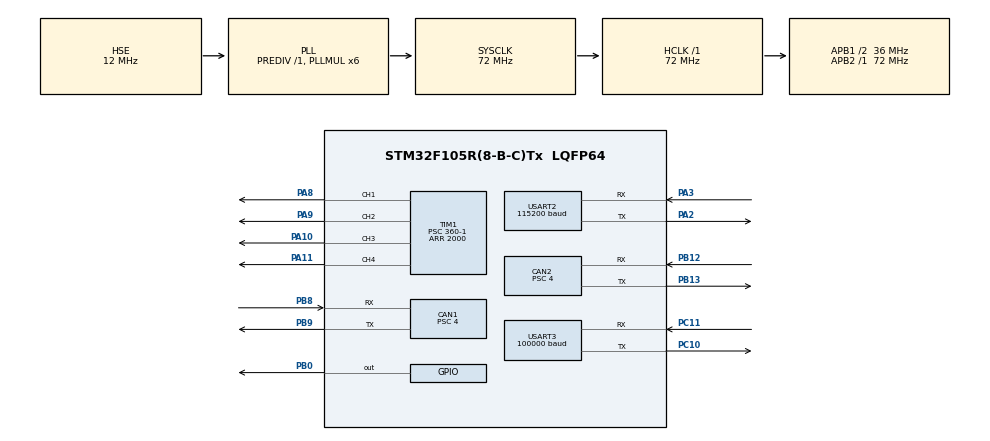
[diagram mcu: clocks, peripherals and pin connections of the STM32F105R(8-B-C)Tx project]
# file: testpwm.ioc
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CAN1.ABOM=ENABLE
CAN1.BS1=CAN_BS1_3TQ
CAN1.BS2=CAN_BS2_5TQ
CAN1.CalculateBaudRate=1000000
CAN1.CalculateTimeBit=999.99
CAN1.CalculateTimeQuantum=111.11111111111111
CAN1.Mode=CAN_MODE_NORMAL
CAN1.Prescaler=4
CAN2.ABOM=ENABLE
CAN2.BS1=CAN_BS1_3TQ
CAN2.BS2=CAN_BS2_5TQ
CAN2.CalculateBaudRate=1000000
CAN2.CalculateTimeBit=999.99
CAN2.CalculateTimeQuantum=111.11111111111111
CAN2.Prescaler=4
Dma.Request0=USART3_RX
Dma.USART3_RX.0.Direction=DMA_PERIPH_TO_MEMORY
Dma.USART3_RX.0.Instance=DMA1_Channel3
Dma.USART3_RX.0.MemDataAlignment=DMA_MDATAALIGN_BYTE
Dma.USART3_RX.0.MemInc=DMA_MINC_ENABLE
Dma.USART3_RX.0.Mode=DMA_CIRCULAR
Dma.USART3_RX.0.PeriphDataAlignment=DMA_PDATAALIGN_BYTE
Dma.USART3_RX.0.PeriphInc=DMA_PINC_DISABLE
Dma.USART3_RX.0.Priority=DMA_PRIORITY_VERY_HIGH
Mcu.Family=STM32F1
Mcu.Name=STM32F105R(8-B-C)Tx
Mcu.Package=LQFP64
NVIC.CAN1_RX0_IRQn=true\:0\:0\:false\:false\:true\:true\:true
NVIC.CAN1_TX_IRQn=true\:0\:0\:false\:false\:true\:true\:true
NVIC.CAN2_RX0_IRQn=true\:0\:0\:false\:false\:true\:true\:true
NVIC.CAN2_TX_IRQn=true\:0\:0\:false\:false\:true\:true\:true
NVIC.DMA1_Channel3_IRQn=true\:0\:0\:false\:false\:true\:false\:true
NVIC.PriorityGroup=NVIC_PRIORITYGROUP_4
PA10.Signal=S_TIM1_CH3
PA11.Signal=S_TIM1_CH4
PA13.Mode=Serial_Wire
PA13.Signal=SYS_JTMS-SWDIO
PA14.Mode=Serial_Wire
PA14.Signal=SYS_JTCK-SWCLK
PA2.Mode=Asynchronous
PA2.Signal=USART2_TX
PA3.Mode=Asynchronous
PA3.Signal=USART2_RX
PA8.Signal=S_TIM1_CH1
PA9.Signal=S_TIM1_CH2
PB0.PinState=GPIO_PIN_RESET
PB0.Signal=GPIO_Output
PB12.Mode=CAN_Activate
PB12.Signal=CAN2_RX
PB13.Mode=CAN_Activate
PB13.Signal=CAN2_TX
PB8.GPIO_Mode=GPIO_MODE_INPUT
PB8.GPIO_PuPd=GPIO_NOPULL
PB8.Mode=CAN_Activate
PB8.Signal=CAN1_RX
PB9.Mode=CAN_Activate
PB9.Signal=CAN1_TX
PC10.Mode=Asynchronous
PC10.Signal=USART3_TX
PC11.Mode=Asynchronous
PC11.Signal=USART3_RX
PD0-OSC_IN.Mode=HSE-External-Oscillator
PD0-OSC_IN.Signal=RCC_OSC_IN
PD1-OSC_OUT.Mode=HSE-External-Oscillator
PD1-OSC_OUT.Signal=RCC_OSC_OUT
ProjectManager.HeapSize=0x200
ProjectManager.StackSize=0x400
ProjectManager.TargetToolchain=MDK-ARM V5
RCC.AHBFreq_Value=72000000
RCC.APB1CLKDivider=RCC_HCLK_DIV2
RCC.APB1Freq_Value=36000000
RCC.APB1TimFreq_Value=72000000
RCC.APB2Freq_Value=72000000
RCC.APB2TimFreq_Value=72000000
RCC.HCLKFreq_Value=72000000
RCC.HSE_VALUE=12000000
RCC.PLLMUL=RCC_PLL_MUL6
RCC.PLLSourceVirtual=RCC_PLLSOURCE_HSE
RCC.SYSCLKFreq_VALUE=72000000
RCC.SYSCLKSource=RCC_SYSCLKSOURCE_PLLCLK
RCC.USBFreq_Value=48000000
SH.S_TIM1_CH1.0=TIM1_CH1,PWM Generation1 CH1
SH.S_TIM1_CH2.0=TIM1_CH2,PWM Generation2 CH2
SH.S_TIM1_CH3.0=TIM1_CH3,PWM Generation3 CH3
SH.S_TIM1_CH4.0=TIM1_CH4,PWM Generation4 CH4
TIM1.AutoReloadPreload=TIM_AUTORELOAD_PRELOAD_ENABLE
TIM1.Channel-PWM\ Generation1\ CH1=TIM_CHANNEL_1
TIM1.Channel-PWM\ Generation2\ CH2=TIM_CHANNEL_2
TIM1.Channel-PWM\ Generation3\ CH3=TIM_CHANNEL_3
TIM1.Channel-PWM\ Generation4\ CH4=TIM_CHANNEL_4
TIM1.OCPolarity_1=TIM_OCPOLARITY_HIGH
TIM1.Period=2000
TIM1.Prescaler=360-1
TIM1.Pulse-PWM\ Generation1\ CH1=200
USART2.BaudRate=115200
USART2.Parity=PARITY_NONE
USART2.VirtualMode=VM_ASYNC
USART3.BaudRate=100000
USART3.Parity=PARITY_EVEN
USART3.VirtualMode=VM_ASYNC
board=custom

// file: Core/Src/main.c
/* USER CODE BEGIN Header */
/**
  ******************************************************************************
  * @file           : main.c
  * @brief          : Main program body
  ******************************************************************************
  * @attention
  *
  * <h2><center>&copy; Copyright (c) 2021 STMicroelectronics.
  * All rights reserved.</center></h2>
  *
  * This software component is licensed by ST under BSD 3-Clause license,
  * the "License"; You may not use this file except in compliance with the
  * License. You may obtain a copy of the License at:
  *                        opensource.org/licenses/BSD-3-Clause
  *
  ******************************************************************************
  */
/* USER CODE END Header */
#include "main.h"
#include "can.h"
#include "dma.h"
#include "tim.h"
#include "usart.h"
#include "gpio.h"

/* USER CODE BEGIN Includes */
#include "string.h"
#include <stdio.h>
#include <math.h>
#include <stdlib.h>

/* USER CODE END Includes */

/* USER CODE BEGIN PV */

uint16_t motor1_pulse=0;
uint16_t motor2_pulse=0;
uint16_t motor3_pulse=0;
uint16_t motor4_pulse=0;

uint16_t rx_count=0;
uint8_t dbus_rx_buffer[18]={0}; // receiver data buffer
RC_Ctl_t RC_CtrlData; // dbus channel typeder
int16_t sp1 = 10000;

uint8_t rxbuf[8]={0,0,0,0,0,0,0,0}; //can_rx
CAN_RxHeaderTypeDef RxHeader;
uint32_t MailBox;//tx mail box
uint8_t tx_data[8]; // can tx data

static volatile uint32_t  can_status;

static volatile int32_t cnt =0;

/* USER CODE END PV */

void SystemClock_Config(void);
/* USER CODE BEGIN PFP */
void hal_can_recv_filter(CAN_HandleTypeDef hcan);
void set_motor_voltage(int16_t v1, int16_t v2, int16_t v3, int16_t v4);
//extern void CAN2_Filter_Init(void);// CAN FILTER INIT
//void CAN1_Filter_Init(void);

/* USER CODE END PFP */

int main(void)
{

  /* MCU Configuration--------------------------------------------------------*/

  /* Reset of all peripherals, Initializes the Flash interface and the Systick. */
  HAL_Init();

  /* Configure the system clock */
  SystemClock_Config();

  /* Initialize all configured peripherals */
  MX_GPIO_Init();
  MX_TIM1_Init();
  MX_USART2_UART_Init();
  MX_DMA_Init();
  MX_USART3_UART_Init();
  MX_CAN1_Init();
  MX_CAN2_Init();
  /* USER CODE BEGIN 2 */

	/* Start the CAN peripheral */
	hal_can_recv_filter(hcan1);
	if (HAL_CAN_Start(&hcan1) != HAL_OK)
	{

	  /* Start Error */
	  Error_Handler();
	}

	/* Activate CAN RX notification */
	if (HAL_CAN_ActivateNotification(&hcan1, CAN_IT_RX_FIFO0_MSG_PENDING) != HAL_OK)
	{
	  /* Notification Error */
	  Error_Handler();
	}
  HAL_TIM_PWM_Start(&htim1, TIM_CHANNEL_1);
  HAL_TIM_PWM_Start(&htim1, TIM_CHANNEL_2);
  HAL_TIM_PWM_Start(&htim1, TIM_CHANNEL_3);
  HAL_TIM_PWM_Start(&htim1, TIM_CHANNEL_4);
  __HAL_TIM_SET_COMPARE(&htim1, TIM_CHANNEL_1, motor1_pulse);
	__HAL_TIM_SET_COMPARE(&htim1, TIM_CHANNEL_2, motor1_pulse);
	__HAL_TIM_SET_COMPARE(&htim1, TIM_CHANNEL_3, motor1_pulse);
	__HAL_TIM_SET_COMPARE(&htim1, TIM_CHANNEL_4, motor1_pulse);
  HAL_UART_Receive_DMA(&huart3, dbus_rx_buffer, 18);

  //CAN2_Filter_Init();// CAN FILTER INIT

  /* USER CODE END 2 */

  /* Infinite loop */
  while (1)
  {

    /* USER CODE BEGIN 3 */
		set_motor_voltage(30000, 0, 0, 0);
//		tx_data[0] = 0x01;
//    tx_data[1] = 0x02;
//		if (HAL_CAN_AddTxMessage(&hcan1, &TxHeader, tx_data, &txmailbox) != HAL_OK)
//        {
//          /* Transmission request Error */
//					can_status = HAL_CAN_GetError(&hcan1);
//          Error_Handler();
//        }
		switch (RC_CtrlData.rc.s2)
			{
				case 1:
				{
					if(RC_CtrlData.rc.ch0 > 1024 && abs(RC_CtrlData.rc.ch1 - 1024) < 20 ){
						motor4_pulse += (RC_CtrlData.rc.ch0-1024)*0.66;

					}
					else if (RC_CtrlData.rc.ch0 < 1024 && abs(RC_CtrlData.rc.ch1 - 1024) < 20){
						motor4_pulse -= (1024-RC_CtrlData.rc.ch0)*0.66 ;
					}
					if(RC_CtrlData.rc.ch1 > 1024 && abs(RC_CtrlData.rc.ch0 - 1024) < 20 ){
						motor3_pulse += (RC_CtrlData.rc.ch1-1024)*0.66;
					}
					else if (RC_CtrlData.rc.ch1 < 1024 && abs(RC_CtrlData.rc.ch0 - 1024) < 20){
						motor3_pulse -= (1024-RC_CtrlData.rc.ch1)*0.88 ;
					}
					break;
				}
				case 3:
				{
					if(RC_CtrlData.rc.ch0 > 1024 && abs(RC_CtrlData.rc.ch1 - 1024) < 20 ){
						motor2_pulse += (RC_CtrlData.rc.ch0-1024)*0.005;
					}
					else if (RC_CtrlData.rc.ch0 < 1024 && abs(RC_CtrlData.rc.ch1 - 1024) < 20){
						motor2_pulse -= (1024-RC_CtrlData.rc.ch0)*0.005 ;
					}
					if(RC_CtrlData.rc.ch1 > 1024 && abs(RC_CtrlData.rc.ch0 - 1024) < 20 ){
						motor1_pulse += (RC_CtrlData.rc.ch1-1024)*0.66;
					}
					else if (RC_CtrlData.rc.ch1 < 1024 && abs(RC_CtrlData.rc.ch0 - 1024) < 20){
						motor1_pulse -= (1024-RC_CtrlData.rc.ch1)*0.66 ;
					}
					break;
				}
				default:
					break;

			}

		if(motor4_pulse >= 250){
			motor4_pulse = 250;
		}
		if(motor4_pulse <= 50){
			motor4_pulse = 50;
		}
		if(motor3_pulse >= 250){
			motor3_pulse = 250;
		}
		if(motor3_pulse <= 50){
			motor3_pulse = 50;
		}
		if(motor2_pulse >= 250){
			motor2_pulse = 250;
		}
		if(motor2_pulse <= 150){
			motor2_pulse = 150;
		}
		if(motor1_pulse >= 250){
			motor1_pulse = 250;
		}
		if(motor1_pulse <= 50){
			motor1_pulse = 50;
		}

	   __HAL_TIM_SET_COMPARE(&htim1, TIM_CHANNEL_1, motor1_pulse);
	   __HAL_TIM_SET_COMPARE(&htim1, TIM_CHANNEL_2, motor2_pulse);
	   __HAL_TIM_SET_COMPARE(&htim1, TIM_CHANNEL_3, motor3_pulse);
	   __HAL_TIM_SET_COMPARE(&htim1, TIM_CHANNEL_4, motor4_pulse);
		cnt += 1;
		HAL_Delay(1000);

	}
  /* USER CODE END 3 */
}

void SystemClock_Config(void)
{
  RCC_OscInitTypeDef RCC_OscInitStruct = {0};
  RCC_ClkInitTypeDef RCC_ClkInitStruct = {0};

  /** Initializes the RCC Oscillators according to the specified parameters
  * in the RCC_OscInitTypeDef structure.
  */
  RCC_OscInitStruct.OscillatorType = RCC_OSCILLATORTYPE_HSE;
  RCC_OscInitStruct.HSEState = RCC_HSE_ON;
  RCC_OscInitStruct.HSEPredivValue = RCC_HSE_PREDIV_DIV1;
  RCC_OscInitStruct.HSIState = RCC_HSI_ON;
  RCC_OscInitStruct.Prediv1Source = RCC_PREDIV1_SOURCE_HSE;
  RCC_OscInitStruct.PLL.PLLState = RCC_PLL_ON;
  RCC_OscInitStruct.PLL.PLLSource = RCC_PLLSOURCE_HSE;
  RCC_OscInitStruct.PLL.PLLMUL = RCC_PLL_MUL6;
  RCC_OscInitStruct.PLL2.PLL2State = RCC_PLL_NONE;
  if (HAL_RCC_OscConfig(&RCC_OscInitStruct) != HAL_OK)
  {
    Error_Handler();
  }
  /** Initializes the CPU, AHB and APB buses clocks
  */
  RCC_ClkInitStruct.ClockType = RCC_CLOCKTYPE_HCLK|RCC_CLOCKTYPE_SYSCLK
                              |RCC_CLOCKTYPE_PCLK1|RCC_CLOCKTYPE_PCLK2;
  RCC_ClkInitStruct.SYSCLKSource = RCC_SYSCLKSOURCE_PLLCLK;
  RCC_ClkInitStruct.AHBCLKDivider = RCC_SYSCLK_DIV1;
  RCC_ClkInitStruct.APB1CLKDivider = RCC_HCLK_DIV2;
  RCC_ClkInitStruct.APB2CLKDivider = RCC_HCLK_DIV1;

  if (HAL_RCC_ClockConfig(&RCC_ClkInitStruct, FLASH_LATENCY_2) != HAL_OK)
  {
    Error_Handler();
  }
  /** Configure the Systick interrupt time
  */
  __HAL_RCC_PLLI2S_ENABLE();
}

/* USER CODE BEGIN 4 */

void HAL_UART_RxCpltCallback(UART_HandleTypeDef * huart)
{

			if(dbus_rx_buffer == NULL)
			 {
			 return;
			 }

			 RC_CtrlData.rc.ch0 = ((int16_t)dbus_rx_buffer[0] | ((int16_t)dbus_rx_buffer[1] << 8)) & 0x07FF;
			 RC_CtrlData.rc.ch1 = (((int16_t)dbus_rx_buffer[1] >> 3) | ((int16_t)dbus_rx_buffer[2] << 5))& 0x07FF;
			 RC_CtrlData.rc.ch2 = (((int16_t)dbus_rx_buffer[2] >> 6) | ((int16_t)dbus_rx_buffer[3] << 2) |((int16_t)dbus_rx_buffer[4] << 10)) & 0x07FF;
			 RC_CtrlData.rc.ch3 = (((int16_t)dbus_rx_buffer[4] >> 1) | ((int16_t)dbus_rx_buffer[5]<<7)) &0x07FF;

			 RC_CtrlData.rc.s1 = ((dbus_rx_buffer[5] >> 4) & 0x000C) >> 2;
			 RC_CtrlData.rc.s2 = ((dbus_rx_buffer[5] >> 4) & 0x0003);
			 RC_CtrlData.mouse.x = ((int16_t)dbus_rx_buffer[6]) | ((int16_t)dbus_rx_buffer[7] << 8);
			 RC_CtrlData.mouse.y = ((int16_t)dbus_rx_buffer[8]) | ((int16_t)dbus_rx_buffer[9] << 8);
			 RC_CtrlData.mouse.z = ((int16_t)dbus_rx_buffer[10]) | ((int16_t)dbus_rx_buffer[11] << 8);
			 RC_CtrlData.mouse.press_l = dbus_rx_buffer[12];
			 RC_CtrlData.mouse.press_r = dbus_rx_buffer[13];
			 RC_CtrlData.key.v = ((int16_t)dbus_rx_buffer[14]);// | ((int16_t)pData[15] << 8);
			//HAL_UART_Receive_IT(&huart3, dbus_rx_buffer, 18);
			//HAL_UART_Receive_DMA(&huart3, dbus_rx_buffer, 18);

}

void hal_can_recv_filter(CAN_HandleTypeDef hcan)
{
	CAN_FilterTypeDef sFilterConfig;
	sFilterConfig.FilterMode = CAN_FILTERMODE_IDMASK;
	sFilterConfig.FilterScale = CAN_FILTERSCALE_32BIT;
	sFilterConfig.FilterIdHigh = 0x0000;
	sFilterConfig.FilterIdLow = 0x0000;
	sFilterConfig.FilterMaskIdHigh = 0x0000;
	sFilterConfig.FilterMaskIdLow = 0x0000;
	sFilterConfig.FilterFIFOAssignment = CAN_RX_FIFO0;
	sFilterConfig.SlaveStartFilterBank = 14;
	sFilterConfig.FilterActivation = ENABLE;
//	if (HAL_CAN_ConfigFilter(&hcan, &sFilterConfig) != HAL_OK)
//	{
//	  /* Filter configuration Error */
//	  Error_Handler();
//	}
	sFilterConfig.FilterBank = 0;
	if(HAL_CAN_ConfigFilter(&hcan, &sFilterConfig) != HAL_OK)
	{
	  /* Filter configuration Error */
	  Error_Handler();
	}
}
void set_motor_voltage(int16_t v1, int16_t v2, int16_t v3, int16_t v4)
{
	CAN_TxHeaderTypeDef TxHeader;

	TxHeader.StdId = 0x1ff;
	TxHeader.ExtId = 0x00;
	TxHeader.RTR = CAN_RTR_DATA;
	TxHeader.IDE = CAN_ID_STD;
	TxHeader.DLC = 8;
	TxHeader.TransmitGlobalTime = DISABLE;

	tx_data[0] = (v1>>8)&0xff;
	tx_data[1] =	(v1)&0xff;
	tx_data[2] = (v2>>8)&0xff;
	tx_data[3] =	(v2)&0xff;
	tx_data[4] = (v3>>8)&0xff;
	tx_data[5] =	(v3)&0xff;
	tx_data[6] = (v4>>8)&0xff;
	tx_data[7] =	(v4)&0xff;
//	while(HAL_CAN_GetTxMailboxesFreeLevel(&hcan1) == 0);
	if(HAL_CAN_AddTxMessage(&hcan1, &TxHeader, tx_data, &MailBox) != HAL_OK)
  {
    /* Transmission request Error */
	can_status = HAL_CAN_GetError(&hcan1);
    Error_Handler();
  }
//   if((hcan1.Instance->TSR & CAN_TSR_TME0) != RESET)
//   	{
//   		txmailbox = CAN_TX_MAILBOX0;
//   	}
//   if((hcan1.Instance->TSR & CAN_TSR_TME1) != RESET)
//   	{
//   		txmailbox = CAN_TX_MAILBOX1;
//   	}

//		if((hcan1.Instance->TSR & CAN_TSR_TME2) != RESET)
//   	{
//   		txmailbox = CAN_TX_MAILBOX2;
//   	}

}

void HAL_CAN_RxFifo0MsgPendingCallback(CAN_HandleTypeDef * hcan)
{
	if (HAL_CAN_GetRxMessage(&hcan1, CAN_RX_FIFO0 , &RxHeader, rxbuf) != HAL_OK )
		{

			Error_Handler();
		}
	//if ((RxHeader.StdId == 0x201) && (RxHeader.IDE == CAN_ID_STD))
//{
	 //   HAL_GPIO_TogglePin(GPIOB, GPIO_PIN_0);
	 // }
	 HAL_CAN_ActivateNotification(&hcan1, CAN_IT_RX_FIFO0_MSG_PENDING); //OPEN CAN RX IT
}

/* USER CODE END 4 */

void Error_Handler(void)
{
  __disable_irq();
  while (1)
  {
  }
}

/************************ (C) COPYRIGHT STMicroelectronics *****END OF FILE****/
